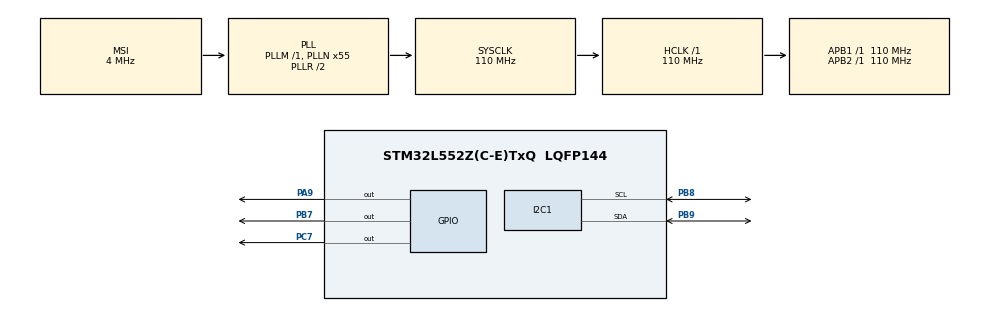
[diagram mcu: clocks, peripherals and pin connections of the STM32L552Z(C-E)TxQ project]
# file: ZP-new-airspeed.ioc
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Dma.I2C1_RX.0.Channel_PRIV_NPRIV=DMA_CHANNEL_NPRIV_DISABLE
Dma.I2C1_RX.0.Direction=DMA_PERIPH_TO_MEMORY
Dma.I2C1_RX.0.EventEnable=DISABLE
Dma.I2C1_RX.0.Instance=DMA1_Channel1
Dma.I2C1_RX.0.MemDataAlignment=DMA_MDATAALIGN_BYTE
Dma.I2C1_RX.0.MemInc=DMA_MINC_ENABLE
Dma.I2C1_RX.0.Mode=DMA_NORMAL
Dma.I2C1_RX.0.PeriphDataAlignment=DMA_PDATAALIGN_BYTE
Dma.I2C1_RX.0.PeriphInc=DMA_PINC_DISABLE
Dma.I2C1_RX.0.Polarity=HAL_DMAMUX_REQ_GEN_RISING
Dma.I2C1_RX.0.Priority=DMA_PRIORITY_LOW
Dma.I2C1_RX.0.RequestNumber=1
Dma.I2C1_RX.0.SignalID=NONE
Dma.I2C1_RX.0.SyncEnable=DISABLE
Dma.I2C1_RX.0.SyncPolarity=HAL_DMAMUX_SYNC_NO_EVENT
Dma.I2C1_RX.0.SyncRequestNumber=1
Dma.I2C1_RX.0.SyncSignalID=NONE
Dma.Request0=I2C1_RX
I2C1.GeneralCallMode=I2C_GENERALCALL_DISABLE
I2C1.OwnAddress=0x0
I2C1.Timing=0x60514452
Mcu.Family=STM32L5
Mcu.Name=STM32L552Z(C-E)TxQ
Mcu.Package=LQFP144
Mcu.TrustZone=disable
NUCLEO-L552ZE-Q.BUTTON=1
NUCLEO-L552ZE-Q.LD1=true
NUCLEO-L552ZE-Q.LD2=true
NUCLEO-L552ZE-Q.LD3=true
NUCLEO-L552ZE-Q.VCP=true
NVIC.DMA1_Channel1_IRQn=true\:0\:0\:false\:false\:true\:false\:true\:true
NVIC.EXTI13_IRQn=true\:0\:0\:false\:false\:true\:false\:true\:true
NVIC.I2C1_ER_IRQn=true\:0\:0\:false\:false\:true\:true\:true\:true
NVIC.I2C1_EV_IRQn=true\:0\:0\:false\:false\:true\:true\:true\:true
NVIC.PriorityGroup=NVIC_PRIORITYGROUP_3
PA13\ (JTMS/SWDIO).Signal=DEBUG_JTMS-SWDIO
PA14\ (JTCK/SWCLK).Signal=DEBUG_JTCK-SWCLK
PA9.Signal=GPIO_Output
PB3\ (JTDO/TRACESWO).Signal=DEBUG_JTDO-SWO
PB7.Signal=GPIO_Output
PB8.Mode=I2C
PB8.Signal=I2C1_SCL
PB9.Mode=I2C
PB9.Signal=I2C1_SDA
PC13.Signal=PWR_WKUP2
PC14-OSC32_IN\ (PC14).Signal=RCC_OSC32_IN
PC15-OSC32_OUT\ (PC15).Signal=RCC_OSC32_OUT
PC7.Signal=GPIO_Output
PG7.Signal=LPUART1_TX
PG8.Signal=LPUART1_RX
ProjectManager.HeapSize=0x200
ProjectManager.StackSize=0x400
ProjectManager.TargetToolchain=STM32CubeIDE
RCC.ADCCLockSelection=RCC_ADCCLKSOURCE_SYSCLK
RCC.ADCFreq_Value=110000000
RCC.AHBFreq_Value=110000000
RCC.APB1Freq_Value=110000000
RCC.APB1TimFreq_Value=110000000
RCC.APB2Freq_Value=110000000
RCC.APB2TimFreq_Value=110000000
RCC.CK48CLockSelection=RCC_USBCLKSOURCE_HSI48
RCC.CortexFreq_Value=110000000
RCC.HCLKFreq_Value=110000000
RCC.HSE_VALUE=8000000
RCC.HSI48_VALUE=48000000
RCC.HSI_VALUE=16000000
RCC.LSE_VALUE=32768
RCC.MSI_VALUE=4000000
RCC.PLLN=55
RCC.PLLSAI1N=24
RCC.RTCClockSelection=RCC_RTCCLKSOURCE_LSE
RCC.SYSCLKFreq_VALUE=110000000
RCC.SYSCLKSource=RCC_SYSCLKSOURCE_PLLCLK
RCC.USBFreq_Value=48000000
RCC.VCOOutputFreq_Value=220000000
VP_ICACHE_VS_ICACHE.Mode=DirectMappedCache
VP_NUCLEO-L552ZE-Q_VS_BSP_COMMON.Mode=COMMON
VP_PWR_VS_DBSignals.Mode=DisableDeadBatterySignals
VP_PWR_VS_SECSignals.Mode=Security/Privilege
board=NUCLEO-L552ZE-Q

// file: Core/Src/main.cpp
/* USER CODE BEGIN Header */
/**
  ******************************************************************************
  * @file           : main.c
  * @brief          : Main program body
  ******************************************************************************
  * @attention
  *
  * Copyright (c) 2025 STMicroelectronics.
  * All rights reserved.
  *
  * This software is licensed under terms that can be found in the LICENSE file
  * in the root directory of this software component.
  * If no LICENSE file comes with this software, it is provided AS-IS.
  *
  ******************************************************************************
  */
/* USER CODE END Header */
#include "main.h"
#include <cstring>

/* USER CODE BEGIN Includes */
#include "airspeed.hpp"
/* USER CODE END Includes */

COM_InitTypeDef BspCOMInit;
I2C_HandleTypeDef hi2c1;
DMA_HandleTypeDef hdma_i2c1_rx;

void SystemClock_Config(void);
static void MX_GPIO_Init(void);
static void MX_DMA_Init(void);
static void MX_ICACHE_Init(void);
static void MX_I2C1_Init(void);

/* USER CODE BEGIN 0 */
airspeed *airspeedSensor_inst = new airspeed(&hi2c1);
double airspeedData = 0;
bool dataFl = false;
double pOff = 0;
double tOff = 0;
double temp = 0;
double press = 0;
double rawPress = 0;

void HAL_I2C_MasterRxCpltCallback(I2C_HandleTypeDef *hi2c) {
    memcpy(
    	airspeedSensor_inst->getProcessRXBuffer(),
		airspeedSensor_inst->getDMARXBuffer(),
		airspeedSensor_inst->getArraySize()
	);

    HAL_I2C_Master_Receive_DMA(
    	hi2c,
		airspeedSensor_inst->getDevAddress(),
		airspeedSensor_inst->getDMARXBuffer(),
		airspeedSensor_inst->getArraySize()
	);
}
/* USER CODE END 0 */

int main(void)
{

  /* MCU Configuration--------------------------------------------------------*/

  /* Reset of all peripherals, Initializes the Flash interface and the Systick. */
  HAL_Init();

  /* Configure the system clock */
  SystemClock_Config();

  /* Initialize all configured peripherals */
  MX_GPIO_Init();
  MX_DMA_Init();
  MX_ICACHE_Init();
  MX_I2C1_Init();
  /* USER CODE BEGIN 2 */
  bool initSuccess = airspeedSensor_inst->airspeedInit();
  bool stat = airspeedSensor_inst->getInitStatus();
  /* USER CODE END 2 */

  /* Initialize leds */
  BSP_LED_Init(LED_GREEN);
  BSP_LED_Init(LED_BLUE);
  BSP_LED_Init(LED_RED);

  /* Initialize USER push-button, will be used to trigger an interrupt each time it's pressed.*/
  BSP_PB_Init(BUTTON_USER, BUTTON_MODE_EXTI);

  /* Initialize COM1 port (115200, 8 bits (7-bit data + 1 stop bit), no parity */
  BspCOMInit.BaudRate   = 115200;
  BspCOMInit.WordLength = COM_WORDLENGTH_8B;
  BspCOMInit.StopBits   = COM_STOPBITS_1;
  BspCOMInit.Parity     = COM_PARITY_NONE;
  BspCOMInit.HwFlowCtl  = COM_HWCONTROL_NONE;
  if (BSP_COM_Init(COM1, &BspCOMInit) != BSP_ERROR_NONE)
  {
    Error_Handler();
  }

  /* Infinite loop */
  while (1)
  {
	  dataFl = airspeedSensor_inst->getAirspeedData(&airspeedData);

	  temp = airspeedSensor_inst->getAirspeedDataStruct().processed_temp_;
	  press = airspeedSensor_inst->getAirspeedDataStruct().processed_press_;
	  rawPress = airspeedSensor_inst->getAirspeedDataStruct().raw_press_;

	  HAL_Delay(10);
  }
}

void SystemClock_Config(void)
{
  RCC_OscInitTypeDef RCC_OscInitStruct = {0};
  RCC_ClkInitTypeDef RCC_ClkInitStruct = {0};

  /** Configure the main internal regulator output voltage
  */
  if (HAL_PWREx_ControlVoltageScaling(PWR_REGULATOR_VOLTAGE_SCALE0) != HAL_OK)
  {
    Error_Handler();
  }

  /** Initializes the RCC Oscillators according to the specified parameters
  * in the RCC_OscInitTypeDef structure.
  */
  RCC_OscInitStruct.OscillatorType = RCC_OSCILLATORTYPE_MSI;
  RCC_OscInitStruct.MSIState = RCC_MSI_ON;
  RCC_OscInitStruct.MSICalibrationValue = RCC_MSICALIBRATION_DEFAULT;
  RCC_OscInitStruct.MSIClockRange = RCC_MSIRANGE_6;
  RCC_OscInitStruct.PLL.PLLState = RCC_PLL_ON;
  RCC_OscInitStruct.PLL.PLLSource = RCC_PLLSOURCE_MSI;
  RCC_OscInitStruct.PLL.PLLM = 1;
  RCC_OscInitStruct.PLL.PLLN = 55;
  RCC_OscInitStruct.PLL.PLLP = RCC_PLLP_DIV7;
  RCC_OscInitStruct.PLL.PLLQ = RCC_PLLQ_DIV2;
  RCC_OscInitStruct.PLL.PLLR = RCC_PLLR_DIV2;
  if (HAL_RCC_OscConfig(&RCC_OscInitStruct) != HAL_OK)
  {
    Error_Handler();
  }

  /** Initializes the CPU, AHB and APB buses clocks
  */
  RCC_ClkInitStruct.ClockType = RCC_CLOCKTYPE_HCLK|RCC_CLOCKTYPE_SYSCLK
                              |RCC_CLOCKTYPE_PCLK1|RCC_CLOCKTYPE_PCLK2;
  RCC_ClkInitStruct.SYSCLKSource = RCC_SYSCLKSOURCE_PLLCLK;
  RCC_ClkInitStruct.AHBCLKDivider = RCC_SYSCLK_DIV1;
  RCC_ClkInitStruct.APB1CLKDivider = RCC_HCLK_DIV1;
  RCC_ClkInitStruct.APB2CLKDivider = RCC_HCLK_DIV1;

  if (HAL_RCC_ClockConfig(&RCC_ClkInitStruct, FLASH_LATENCY_5) != HAL_OK)
  {
    Error_Handler();
  }
}

static void MX_I2C1_Init(void)
{

  hi2c1.Instance = I2C1;
  hi2c1.Init.Timing = 0x60514452;
  hi2c1.Init.OwnAddress1 = 0;
  hi2c1.Init.AddressingMode = I2C_ADDRESSINGMODE_7BIT;
  hi2c1.Init.DualAddressMode = I2C_DUALADDRESS_DISABLE;
  hi2c1.Init.OwnAddress2 = 0;
  hi2c1.Init.OwnAddress2Masks = I2C_OA2_NOMASK;
  hi2c1.Init.GeneralCallMode = I2C_GENERALCALL_DISABLE;
  hi2c1.Init.NoStretchMode = I2C_NOSTRETCH_DISABLE;
  if (HAL_I2C_Init(&hi2c1) != HAL_OK)
  {
    Error_Handler();
  }

  /** Configure Analogue filter
  */
  if (HAL_I2CEx_ConfigAnalogFilter(&hi2c1, I2C_ANALOGFILTER_ENABLE) != HAL_OK)
  {
    Error_Handler();
  }

  /** Configure Digital filter
  */
  if (HAL_I2CEx_ConfigDigitalFilter(&hi2c1, 0) != HAL_OK)
  {
    Error_Handler();
  }

}

static void MX_ICACHE_Init(void)
{

  /** Enable instruction cache in 1-way (direct mapped cache)
  */
  if (HAL_ICACHE_ConfigAssociativityMode(ICACHE_1WAY) != HAL_OK)
  {
    Error_Handler();
  }
  if (HAL_ICACHE_Enable() != HAL_OK)
  {
    Error_Handler();
  }

}

static void MX_DMA_Init(void)
{

  /* DMA controller clock enable */
  __HAL_RCC_DMAMUX1_CLK_ENABLE();
  __HAL_RCC_DMA1_CLK_ENABLE();

  /* DMA interrupt init */
  /* DMA1_Channel1_IRQn interrupt configuration */
  HAL_NVIC_SetPriority(DMA1_Channel1_IRQn, 0, 0);
  HAL_NVIC_EnableIRQ(DMA1_Channel1_IRQn);

}

static void MX_GPIO_Init(void)
{

  /* GPIO Ports Clock Enable */
  __HAL_RCC_GPIOC_CLK_ENABLE();
  __HAL_RCC_GPIOA_CLK_ENABLE();
  __HAL_RCC_GPIOB_CLK_ENABLE();

}

void Error_Handler(void)
{
  __disable_irq();
  while (1)
  {
  }
}
